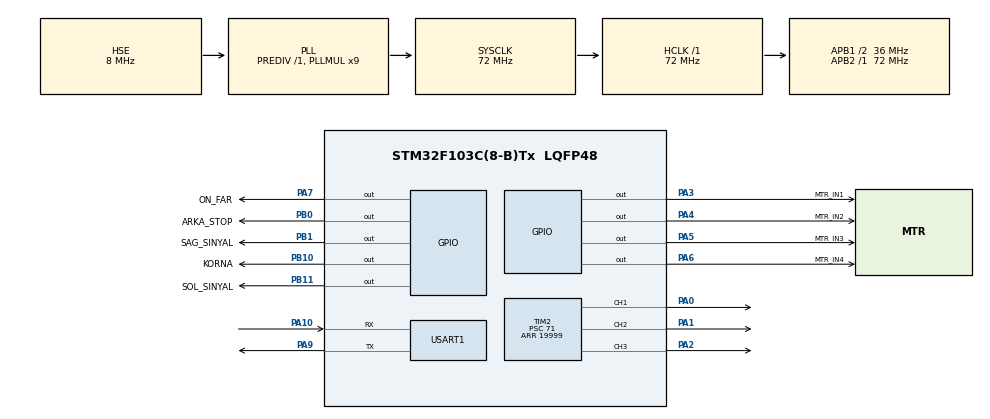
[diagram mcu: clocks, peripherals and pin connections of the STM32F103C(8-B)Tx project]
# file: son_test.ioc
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Mcu.Family=STM32F1
Mcu.Name=STM32F103C(8-B)Tx
Mcu.Package=LQFP48
NVIC.PriorityGroup=NVIC_PRIORITYGROUP_4
NVIC.TIM4_IRQn=true\:0\:0\:false\:false\:true\:true
NVIC.USART1_IRQn=true\:0\:0\:false\:false\:true\:true
PA0-WKUP.Signal=S_TIM2_CH1_ETR
PA1.Signal=S_TIM2_CH2
PA10.Mode=Asynchronous
PA10.Signal=USART1_RX
PA13.Mode=Serial_Wire
PA13.Signal=SYS_JTMS-SWDIO
PA14.Mode=Serial_Wire
PA14.Signal=SYS_JTCK-SWCLK
PA2.Signal=S_TIM2_CH3
PA3.GPIO_Label=MTR_IN1
PA3.Signal=GPIO_Output
PA4.GPIO_Label=MTR_IN2
PA4.Signal=GPIO_Output
PA5.GPIO_Label=MTR_IN3
PA5.Signal=GPIO_Output
PA6.GPIO_Label=MTR_IN4
PA6.Signal=GPIO_Output
PA7.GPIO_Label=ON_FAR
PA7.Signal=GPIO_Output
PA9.Mode=Asynchronous
PA9.Signal=USART1_TX
PB0.GPIO_Label=ARKA_STOP
PB0.Signal=GPIO_Output
PB1.GPIO_Label=SAG_SINYAL
PB1.Signal=GPIO_Output
PB10.GPIO_Label=KORNA
PB10.Signal=GPIO_Output
PB11.GPIO_Label=SOL_SINYAL
PB11.Signal=GPIO_Output
PD0-OSC_IN.Mode=HSE-External-Oscillator
PD0-OSC_IN.Signal=RCC_OSC_IN
PD1-OSC_OUT.Mode=HSE-External-Oscillator
PD1-OSC_OUT.Signal=RCC_OSC_OUT
ProjectManager.HeapSize=0x200
ProjectManager.StackSize=0x400
ProjectManager.TargetToolchain=MDK-ARM V5
RCC.AHBFreq_Value=72000000
RCC.APB1CLKDivider=RCC_HCLK_DIV2
RCC.APB1Freq_Value=36000000
RCC.APB1TimFreq_Value=72000000
RCC.APB2Freq_Value=72000000
RCC.APB2TimFreq_Value=72000000
RCC.HCLKFreq_Value=72000000
RCC.PLLMUL=RCC_PLL_MUL9
RCC.PLLSourceVirtual=RCC_PLLSOURCE_HSE
RCC.SYSCLKFreq_VALUE=72000000
RCC.SYSCLKSource=RCC_SYSCLKSOURCE_PLLCLK
RCC.USBFreq_Value=72000000
SH.S_TIM2_CH1_ETR.0=TIM2_CH1,PWM Generation1 CH1
SH.S_TIM2_CH2.0=TIM2_CH2,PWM Generation2 CH2
SH.S_TIM2_CH3.0=TIM2_CH3,PWM Generation3 CH3
TIM2.Channel-PWM\ Generation1\ CH1=TIM_CHANNEL_1
TIM2.Channel-PWM\ Generation2\ CH2=TIM_CHANNEL_2
TIM2.Channel-PWM\ Generation3\ CH3=TIM_CHANNEL_3
TIM2.OCMode_PWM-PWM\ Generation2\ CH2=TIM_OCMODE_PWM1
TIM2.OCMode_PWM-PWM\ Generation3\ CH3=TIM_OCMODE_PWM1
TIM2.Period=19999
TIM2.Prescaler=71
TIM4.Period=800
TIM4.Prescaler=35999
USART1.VirtualMode=VM_ASYNC
VP_TIM4_VS_ClockSourceINT.Mode=Internal
board=son_test

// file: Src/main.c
/**
  ******************************************************************************
  * File Name          : main.c
  * Description        : Main program body
  ******************************************************************************
  ** This notice applies to any and all portions of this file
  * that are not between comment pairs USER CODE BEGIN and
  * USER CODE END. Other portions of this file, whether
  * inserted by the user or by software development tools
  * are owned by their respective copyright owners.
  *
  * COPYRIGHT(c) 2017 STMicroelectronics
  *
  * Redistribution and use in source and binary forms, with or without modification,
  * are permitted provided that the following conditions are met:
  *   1. Redistributions of source code must retain the above copyright notice,
  *      this list of conditions and the following disclaimer.
  *   2. Redistributions in binary form must reproduce the above copyright notice,
  *      this list of conditions and the following disclaimer in the documentation
  *      and/or other materials provided with the distribution.
  *   3. Neither the name of STMicroelectronics nor the names of its contributors
  *      may be used to endorse or promote products derived from this software
  *      without specific prior written permission.
  *
  * THIS SOFTWARE IS PROVIDED BY THE COPYRIGHT HOLDERS AND CONTRIBUTORS "AS IS"
  * AND ANY EXPRESS OR IMPLIED WARRANTIES, INCLUDING, BUT NOT LIMITED TO, THE
  * IMPLIED WARRANTIES OF MERCHANTABILITY AND FITNESS FOR A PARTICULAR PURPOSE ARE
  * DISCLAIMED. IN NO EVENT SHALL THE COPYRIGHT HOLDER OR CONTRIBUTORS BE LIABLE
  * FOR ANY DIRECT, INDIRECT, INCIDENTAL, SPECIAL, EXEMPLARY, OR CONSEQUENTIAL
  * DAMAGES (INCLUDING, BUT NOT LIMITED TO, PROCUREMENT OF SUBSTITUTE GOODS OR
  * SERVICES; LOSS OF USE, DATA, OR PROFITS; OR BUSINESS INTERRUPTION) HOWEVER
  * CAUSED AND ON ANY THEORY OF LIABILITY, WHETHER IN CONTRACT, STRICT LIABILITY,
  * OR TORT (INCLUDING NEGLIGENCE OR OTHERWISE) ARISING IN ANY WAY OUT OF THE USE
  * OF THIS SOFTWARE, EVEN IF ADVISED OF THE POSSIBILITY OF SUCH DAMAGE.
  *
  ******************************************************************************
  */

#include "main.h"
#include "stm32f1xx_hal.h"

TIM_HandleTypeDef htim2;
TIM_HandleTypeDef htim4;

UART_HandleTypeDef huart1;

/* USER CODE BEGIN PV */
/* Private variables ---------------------------------------------------------*/
char* bufftr="mesaj bekliyor\r\n";																									// bufftr - HC05'E GONDERILECEK MESAJ
uint8_t buffrec[1];																																	// buffrec - HC05'DEN ALINACAK KARAKTER
int a=0;																																						// SINYALIZASYON KOSULU
int b=0;																																						// DORTLU KOSULU
int SOL_SERVO=1050;
int SAG_SERVO=1550;
int DIK_SERVO=1350;
/* USER CODE END PV */

void SystemClock_Config(void);
static void MX_GPIO_Init(void);
static void MX_USART1_UART_Init(void);
static void MX_TIM2_Init(void);
static void MX_TIM4_Init(void);
void HAL_TIM_MspPostInit(TIM_HandleTypeDef *htim);

/* USER CODE BEGIN PFP */
/* Private function prototypes -----------------------------------------------*/

/* USER CODE END PFP */

int main(void)
{

  /* MCU Configuration----------------------------------------------------------*/

  /* Reset of all peripherals, Initializes the Flash interface and the Systick. */
  HAL_Init();

  /* Configure the system clock */
  SystemClock_Config();

  /* Initialize all configured peripherals */
  MX_GPIO_Init();
  MX_USART1_UART_Init();
  MX_TIM2_Init();
  MX_TIM4_Init();

  /* USER CODE BEGIN 2 */
	__HAL_UART_ENABLE_IT(&huart1, UART_IT_TC);															 	  // VERI GONDERIMI AYARI
	__HAL_UART_ENABLE_IT(&huart1, UART_IT_RXNE); 																// CEVAP ALMA AYARI
	HAL_TIM_PWM_Start(&htim2,TIM_CHANNEL_1); 																		// SERVO PWM BASLAT
	HAL_TIM_PWM_Start(&htim2,TIM_CHANNEL_2);																		// TIMER2 KANAL 2 PWM BASLAT ( MOTOR HIZ_1 KONTROL )
 	HAL_TIM_PWM_Start(&htim2,TIM_CHANNEL_3);																		// TIMER2 KANAL 3 PWM BASLAT ( MOTOR HIZ_2 KONTROL )
	HAL_TIM_Base_Start_IT(&htim4); 																							// TIMER4 INTERNAL CLOCK BASLAT ( SINYALIZASYON SISTEMI )
	TIM2->CCR1=0; 																															// TIMER2 KANAL 1 = 0
	TIM2->CCR2=0;																															  // TIMER2 KANAL 2 = 0
	TIM2->CCR3=0;																																// TIMER2 KANAL 3 = 0
	HAL_Delay(100);

  /* USER CODE END 2 */

  /* Infinite loop */
  /* USER CODE BEGIN WHILE */
  while (1)
  {
		HAL_UART_Receive_IT(&huart1,buffrec,1);																											// USART ALICI KESMEYI BASLAT
		HAL_Delay(10);																																							// 10 ms  BEKLE ( CEVAP ALMA SURESI )
		if(buffrec[0] == 'F')																									  										// ILERI
		{
			TIM2->CCR1=DIK_SERVO; 																									 		  						// SERVO 90 DERECE AYARLA
			HAL_GPIO_WritePin(GPIOA,MTR_IN2_Pin|MTR_IN4_Pin,GPIO_PIN_RESET);			  									// MOTOR GERI DURDUR
			HAL_GPIO_WritePin(GPIOA,MTR_IN1_Pin|MTR_IN3_Pin,GPIO_PIN_SET);				  									// MOTOR ILERI BASLAT
			if(b==0){
				a=0;																																										// SINYALIZASYON KOSULUNU SIFIRLA
				HAL_GPIO_WritePin(GPIOB,SAG_SINYAL_Pin|SOL_SINYAL_Pin,GPIO_PIN_RESET);									// SINYALIZASYONU KAPAT
			}
		}
		else if(buffrec[0] == 'B') 																																	// GERI
		{
			TIM2->CCR1=DIK_SERVO; 																																		// SERVO 90 DERECE AYARLA
			HAL_GPIO_WritePin(GPIOA,MTR_IN1_Pin|MTR_IN3_Pin,GPIO_PIN_RESET);													// MOTOR ILERI DURDUR
			HAL_GPIO_WritePin(GPIOA,MTR_IN2_Pin|MTR_IN4_Pin,GPIO_PIN_SET);														// MOTOR GERI BASLAT
			if(b==0){
				a=0;																																										// SINYALIZASYON KOSULUNU SIFIRLA
				HAL_GPIO_WritePin(GPIOB,SAG_SINYAL_Pin|SOL_SINYAL_Pin,GPIO_PIN_RESET);									// SINYALIZASYONU KAPAT
			}
		}
		else if(buffrec[0] == 'R') 																																	// SAG
		{
			HAL_GPIO_WritePin(GPIOA,MTR_IN2_Pin|MTR_IN4_Pin,GPIO_PIN_RESET);													// MOTOR GERI DURDUR
			HAL_GPIO_WritePin(GPIOA,MTR_IN1_Pin|MTR_IN3_Pin,GPIO_PIN_RESET);													// MOTOR ILERI DURDUR
			TIM2->CCR1=SAG_SERVO;																																			// SERVO 45 DERECE AYARLA
			if(b==0){
			HAL_GPIO_WritePin(GPIOB,SOL_SINYAL_Pin,GPIO_PIN_RESET);																		// SINYALIZASYONU KAPAT
			a=1;																																											// SINYALIZASYON KOSULUNU ( SAG AYARLA)
			}
		}
		else if(buffrec[0] == 'L') 																																	// SOL
		{
			HAL_GPIO_WritePin(GPIOA,MTR_IN2_Pin|MTR_IN4_Pin,GPIO_PIN_RESET);													// MOTOR GERI DURDUR
			HAL_GPIO_WritePin(GPIOA,MTR_IN1_Pin|MTR_IN3_Pin,GPIO_PIN_RESET);													// MOTOR ILERI DURDUR
			TIM2->CCR1=SOL_SERVO;																																			// SERVO 135 DERECE AYARLA
			if(b==0){
			HAL_GPIO_WritePin(GPIOB,SAG_SINYAL_Pin,GPIO_PIN_RESET);																		// SINYALIZASYONU KAPAT
			a=2;																																											// SINYALIZASYON KOSULUNU ( SOL AYARLA)
			}
		}
		else if(buffrec[0] == 'I') 																																	// ILERI-SAG
		{
			HAL_GPIO_WritePin(GPIOA,MTR_IN2_Pin|MTR_IN4_Pin,GPIO_PIN_RESET);													// MOTOR GERI DURDUR
			HAL_GPIO_WritePin(GPIOA,MTR_IN1_Pin|MTR_IN3_Pin,GPIO_PIN_SET);														// MOTOR ILERI BASLAT
			TIM2->CCR1=SAG_SERVO;																																			// SERVO 45 DERECE AYARLA
			if(b==0){
			HAL_GPIO_WritePin(GPIOB,SOL_SINYAL_Pin,GPIO_PIN_RESET);																		// SINYALIZASYONU KAPAT
			a=1;																																											// SINYALIZASYON KOSULUNU ( SAG AYARLA)
			}
		}
		else if(buffrec[0] == 'G') 																																	// ILERI-SOL
		{
			HAL_GPIO_WritePin(GPIOA,MTR_IN2_Pin|MTR_IN4_Pin,GPIO_PIN_RESET);													// MOTOR GERI DURDUR
			HAL_GPIO_WritePin(GPIOA,MTR_IN1_Pin|MTR_IN3_Pin,GPIO_PIN_SET);														// MOTOR ILERI BASLAT
			TIM2->CCR1=SOL_SERVO;																																			// SERVO 135 DERECE AYARLA
			if(b==0){
			HAL_GPIO_WritePin(GPIOB,SAG_SINYAL_Pin,GPIO_PIN_RESET);																		// SINYALIZASYONU KAPAT
			a=2;																																											// SINYALIZASYON KOSULUNU ( SOL AYARLA)
			}
		}
		else if(buffrec[0] == 'J') 																																	// GERI-SAG
		{
			HAL_GPIO_WritePin(GPIOA,MTR_IN1_Pin|MTR_IN3_Pin,GPIO_PIN_RESET);													// MOTOR ILERI DURDUR
			HAL_GPIO_WritePin(GPIOA,MTR_IN2_Pin|MTR_IN4_Pin,GPIO_PIN_SET);														// MOTOR GERI BASLAT
			TIM2->CCR1=SAG_SERVO;																																			// SERVO 45 DERECE AYARLA
			if(b==0){
			HAL_GPIO_WritePin(GPIOB,SOL_SINYAL_Pin,GPIO_PIN_RESET);																		// SINYALIZASYONU KAPAT
			a=1;																																											// SINYALIZASYON KOSULUNU ( SAG AYARLA)
			}
		}
		else if(buffrec[0] == 'H') 																																	// GERI-SOL
		{
			HAL_GPIO_WritePin(GPIOA,MTR_IN1_Pin|MTR_IN3_Pin,GPIO_PIN_RESET);													// MOTOR ILERI DURDUR
			HAL_GPIO_WritePin(GPIOA,MTR_IN2_Pin|MTR_IN4_Pin,GPIO_PIN_SET);														// MOTOR GERI BASLAT
			TIM2->CCR1=SOL_SERVO;																																			// SERVO 135 DERECE AYARLA
			if(b==0){
			HAL_GPIO_WritePin(GPIOB,SAG_SINYAL_Pin,GPIO_PIN_RESET);																		// SINYALIZASYONU KAPAT
			a=2;																																											// SINYALIZASYON KOSULUNU ( SOL AYARLA)
			}
		}
		else if(buffrec[0] == 'X') 																																	// DORTLU YAK
		{
		a=3;																																												// SINYALIZASYON KOSULUNU ( DORTLU AYARLA)
		b=1;																																												// DORTLU KOSULU ACIK
		}
		else if(buffrec[0]=='x') 																																		// DORTLU SONDUR
		{
			HAL_GPIO_WritePin(GPIOB,SAG_SINYAL_Pin|SOL_SINYAL_Pin,GPIO_PIN_RESET);										// SINYALIZASYONU KAPAT
			a=0;																																											// SINYALIZASYON KOSULU KAPALI
			b=0;																																											// DORTLU KOSULU KAPALI
		}
		else if(buffrec[0]=='W')																																		// FAR YAK
		{
			HAL_GPIO_WritePin(GPIOA,ON_FAR_Pin,GPIO_PIN_SET);																					// GPIOA_07 PORTUNU KUR
		}
		else if(buffrec[0]=='w')																																		// FAR SONDUR
		{
			HAL_GPIO_WritePin(GPIOA,ON_FAR_Pin,GPIO_PIN_RESET);																				// GPIOA_07 PORTUNU RESETLE
		}
		else if(buffrec[0]=='V')																																		// KORNA ÇAL
		{
			HAL_GPIO_WritePin(GPIOB,KORNA_Pin,GPIO_PIN_SET);																					// GPIOB_10 PORTUNU KUR
		}
		else if(buffrec[0]=='v')																																		// KORNA SUS
		{
			HAL_GPIO_WritePin(GPIOB,KORNA_Pin,GPIO_PIN_RESET);																				// GPIOB_10 PORTUNU RESETLE
		}
		else if(buffrec[0]=='U')																																		// STOP YAK
		{
			HAL_GPIO_WritePin(GPIOB,ARKA_STOP_Pin,GPIO_PIN_SET);																			// GPIOB_00 PORTUNU KUR
		}
		else if(buffrec[0]=='u')																																		// STOP SONDUR
		{
			HAL_GPIO_WritePin(GPIOB,ARKA_STOP_Pin,GPIO_PIN_RESET);																		// GPIOB_00 PORTUNU RESETLE
		}
		else if(buffrec[0]=='S')																																		// DUR
		{
			HAL_GPIO_WritePin(GPIOA,MTR_IN1_Pin|MTR_IN2_Pin|MTR_IN3_Pin|MTR_IN4_Pin,GPIO_PIN_RESET);  // MOTOR ILERI-GERI DURDUR
			TIM2->CCR1=DIK_SERVO; 																																		// SERVO 90 DERECE AYARLA
			if(b==0){
				a=0;																																										// SINYALIZASYON KOSULUNU SIFIRLA
				HAL_GPIO_WritePin(GPIOB,SOL_SINYAL_Pin|SAG_SINYAL_Pin,GPIO_PIN_RESET);									// SINYALIZASYONU KAPAT
			}
		}
		else if(buffrec[0]=='0')																																		// HIZ %0
		{
			TIM2->CCR2=0;																																							// CH2 0 AYARLA			( YUZDE-SIFIR)
			TIM2->CCR3=0;																																							// CH3 0 AYARLA     ( YUZDE-SIFIR)
		}
		else if(buffrec[0]=='1')																																		// HIZ %10
		{
			TIM2->CCR2=1999;																																					// CH2 1999 AYARLA ( YUZDE-ON)
			TIM2->CCR3=1999;																																					// CH3 1999 AYARLA ( YUZDE-ON)
		}
		else if(buffrec[0]=='2')																																		// HIZ %20
		{
			TIM2->CCR2=3999;																																					// CH2 3999 AYARLA ( YUZDE-YIRMI)
			TIM2->CCR3=3999;																																					// CH3 3999 AYARLA ( YUZDE-YIRMI)
		}
		else if(buffrec[0]=='3')																																		// HIZ %30
		{
			TIM2->CCR2=5999;																																					// CH2 5999 AYARLA ( YUZDE-OTUZ)
			TIM2->CCR3=5999;																																					// CH3 5999 AYARLA ( YUZDE-OTUZ)
		}
		else if(buffrec[0]=='4')																																		// HIZ %40
		{
			TIM2->CCR2=7999;																																					// CH2 7999 AYARLA ( YUZDE-KIRK)
			TIM2->CCR3=7999;																																					// CH3 7999 AYARLA ( YUZDE-KIRK)
		}
		else if(buffrec[0]=='5')																																		// HIZ %50
		{
			TIM2->CCR2=9999;																																					// CH2 9999 AYARLA ( YUZDE-ELLI)
			TIM2->CCR3=9999;																																					// CH3 9999 AYARLA ( YUZDE-ELLI)
		}
		else if(buffrec[0]=='6')																																		// HIZ %60
		{
			TIM2->CCR2=11999;																																					// CH2 11999 AYARLA ( YUZDE-ALTMIS)
			TIM2->CCR3=11999;																																					// CH3 11999 AYARLA ( YUZDE-ALTMIS)
		}
		else if(buffrec[0]=='7')																																		// HIZ %70
		{
			TIM2->CCR2=13999;																																					// CH2 13999 AYARLA ( YUZDE-YETMIS)
			TIM2->CCR3=13999;																																					// CH3 13999 AYARLA ( YUZDE-YETMIS)
		}
		else if(buffrec[0]=='8')																																		// HIZ %80
		{
			TIM2->CCR2=15999;																																					// CH2 15999 AYARLA ( YUZDE-SEKSEN)
			TIM2->CCR3=15999;																																					// CH3 15999 AYARLA ( YUZDE-SEKSEN)
		}
		else if(buffrec[0]=='9')																																		// HIZ %90
		{
			TIM2->CCR2=17999;																																					// CH2 17999 AYARLA ( YUZDE-DOKSAN)
			TIM2->CCR3=17999;																																					// CH3 17999 AYARLA ( YUZDE-DOKSAN)
		}
		else if(buffrec[0]=='q')																																		// HIZ %100
		{
			TIM2->CCR2=19999;																																					// CH2 19999 AYARLA ( YUZDE-YUZ)
			TIM2->CCR3=19999;																																					// CH3 19999 AYARLA ( YUZDE-YUZ)

		}
		else{
			HAL_UART_Transmit_IT(&huart1, (uint8_t *)bufftr,18); 																			// VERI GONDERIMI
			HAL_Delay(1000);
		}
  /* USER CODE END WHILE */

	}
}

/** System Clock Configuration
*/
void SystemClock_Config(void)
{

  RCC_OscInitTypeDef RCC_OscInitStruct;
  RCC_ClkInitTypeDef RCC_ClkInitStruct;

    /**Initializes the CPU, AHB and APB busses clocks
    */
  RCC_OscInitStruct.OscillatorType = RCC_OSCILLATORTYPE_HSE;
  RCC_OscInitStruct.HSEState = RCC_HSE_ON;
  RCC_OscInitStruct.HSEPredivValue = RCC_HSE_PREDIV_DIV1;
  RCC_OscInitStruct.HSIState = RCC_HSI_ON;
  RCC_OscInitStruct.PLL.PLLState = RCC_PLL_ON;
  RCC_OscInitStruct.PLL.PLLSource = RCC_PLLSOURCE_HSE;
  RCC_OscInitStruct.PLL.PLLMUL = RCC_PLL_MUL9;
  if (HAL_RCC_OscConfig(&RCC_OscInitStruct) != HAL_OK)
  {
    _Error_Handler(__FILE__, __LINE__);
  }

    /**Initializes the CPU, AHB and APB busses clocks
    */
  RCC_ClkInitStruct.ClockType = RCC_CLOCKTYPE_HCLK|RCC_CLOCKTYPE_SYSCLK
                              |RCC_CLOCKTYPE_PCLK1|RCC_CLOCKTYPE_PCLK2;
  RCC_ClkInitStruct.SYSCLKSource = RCC_SYSCLKSOURCE_PLLCLK;
  RCC_ClkInitStruct.AHBCLKDivider = RCC_SYSCLK_DIV1;
  RCC_ClkInitStruct.APB1CLKDivider = RCC_HCLK_DIV2;
  RCC_ClkInitStruct.APB2CLKDivider = RCC_HCLK_DIV1;

  if (HAL_RCC_ClockConfig(&RCC_ClkInitStruct, FLASH_LATENCY_2) != HAL_OK)
  {
    _Error_Handler(__FILE__, __LINE__);
  }

    /**Configure the Systick interrupt time
    */
  HAL_SYSTICK_Config(HAL_RCC_GetHCLKFreq()/1000);

    /**Configure the Systick
    */
  HAL_SYSTICK_CLKSourceConfig(SYSTICK_CLKSOURCE_HCLK);

  /* SysTick_IRQn interrupt configuration */
  HAL_NVIC_SetPriority(SysTick_IRQn, 0, 0);
}

/* TIM2 init function */
static void MX_TIM2_Init(void)
{

  TIM_MasterConfigTypeDef sMasterConfig;
  TIM_OC_InitTypeDef sConfigOC;

  htim2.Instance = TIM2;
  htim2.Init.Prescaler = 71;
  htim2.Init.CounterMode = TIM_COUNTERMODE_UP;
  htim2.Init.Period = 19999;
  htim2.Init.ClockDivision = TIM_CLOCKDIVISION_DIV1;
  htim2.Init.AutoReloadPreload = TIM_AUTORELOAD_PRELOAD_DISABLE;
  if (HAL_TIM_PWM_Init(&htim2) != HAL_OK)
  {
    _Error_Handler(__FILE__, __LINE__);
  }

  sMasterConfig.MasterOutputTrigger = TIM_TRGO_RESET;
  sMasterConfig.MasterSlaveMode = TIM_MASTERSLAVEMODE_DISABLE;
  if (HAL_TIMEx_MasterConfigSynchronization(&htim2, &sMasterConfig) != HAL_OK)
  {
    _Error_Handler(__FILE__, __LINE__);
  }

  sConfigOC.OCMode = TIM_OCMODE_PWM1;
  sConfigOC.Pulse = 0;
  sConfigOC.OCPolarity = TIM_OCPOLARITY_HIGH;
  sConfigOC.OCFastMode = TIM_OCFAST_DISABLE;
  if (HAL_TIM_PWM_ConfigChannel(&htim2, &sConfigOC, TIM_CHANNEL_1) != HAL_OK)
  {
    _Error_Handler(__FILE__, __LINE__);
  }

  if (HAL_TIM_PWM_ConfigChannel(&htim2, &sConfigOC, TIM_CHANNEL_2) != HAL_OK)
  {
    _Error_Handler(__FILE__, __LINE__);
  }

  if (HAL_TIM_PWM_ConfigChannel(&htim2, &sConfigOC, TIM_CHANNEL_3) != HAL_OK)
  {
    _Error_Handler(__FILE__, __LINE__);
  }

  HAL_TIM_MspPostInit(&htim2);

}

/* TIM4 init function */
static void MX_TIM4_Init(void)
{

  TIM_ClockConfigTypeDef sClockSourceConfig;
  TIM_MasterConfigTypeDef sMasterConfig;

  htim4.Instance = TIM4;
  htim4.Init.Prescaler = 35999;
  htim4.Init.CounterMode = TIM_COUNTERMODE_UP;
  htim4.Init.Period = 800;
  htim4.Init.ClockDivision = TIM_CLOCKDIVISION_DIV1;
  htim4.Init.AutoReloadPreload = TIM_AUTORELOAD_PRELOAD_DISABLE;
  if (HAL_TIM_Base_Init(&htim4) != HAL_OK)
  {
    _Error_Handler(__FILE__, __LINE__);
  }

  sClockSourceConfig.ClockSource = TIM_CLOCKSOURCE_INTERNAL;
  if (HAL_TIM_ConfigClockSource(&htim4, &sClockSourceConfig) != HAL_OK)
  {
    _Error_Handler(__FILE__, __LINE__);
  }

  sMasterConfig.MasterOutputTrigger = TIM_TRGO_RESET;
  sMasterConfig.MasterSlaveMode = TIM_MASTERSLAVEMODE_DISABLE;
  if (HAL_TIMEx_MasterConfigSynchronization(&htim4, &sMasterConfig) != HAL_OK)
  {
    _Error_Handler(__FILE__, __LINE__);
  }

}

/* USART1 init function */
static void MX_USART1_UART_Init(void)
{

  huart1.Instance = USART1;
  huart1.Init.BaudRate = 115200;
  huart1.Init.WordLength = UART_WORDLENGTH_8B;
  huart1.Init.StopBits = UART_STOPBITS_1;
  huart1.Init.Parity = UART_PARITY_NONE;
  huart1.Init.Mode = UART_MODE_TX_RX;
  huart1.Init.HwFlowCtl = UART_HWCONTROL_NONE;
  huart1.Init.OverSampling = UART_OVERSAMPLING_16;
  if (HAL_UART_Init(&huart1) != HAL_OK)
  {
    _Error_Handler(__FILE__, __LINE__);
  }

}

/** Configure pins as
        * Analog
        * Input
        * Output
        * EVENT_OUT
        * EXTI
*/
static void MX_GPIO_Init(void)
{

  GPIO_InitTypeDef GPIO_InitStruct;

  /* GPIO Ports Clock Enable */
  __HAL_RCC_GPIOD_CLK_ENABLE();
  __HAL_RCC_GPIOA_CLK_ENABLE();
  __HAL_RCC_GPIOB_CLK_ENABLE();

  /*Configure GPIO pin Output Level */
  HAL_GPIO_WritePin(GPIOA, MTR_IN1_Pin|MTR_IN2_Pin|MTR_IN3_Pin|MTR_IN4_Pin
                          |ON_FAR_Pin, GPIO_PIN_RESET);

  /*Configure GPIO pin Output Level */
  HAL_GPIO_WritePin(GPIOB, ARKA_STOP_Pin|SAG_SINYAL_Pin|KORNA_Pin|SOL_SINYAL_Pin, GPIO_PIN_RESET);

  /*Configure GPIO pins : MTR_IN1_Pin MTR_IN2_Pin MTR_IN3_Pin MTR_IN4_Pin
                           ON_FAR_Pin */
  GPIO_InitStruct.Pin = MTR_IN1_Pin|MTR_IN2_Pin|MTR_IN3_Pin|MTR_IN4_Pin
                          |ON_FAR_Pin;
  GPIO_InitStruct.Mode = GPIO_MODE_OUTPUT_PP;
  GPIO_InitStruct.Speed = GPIO_SPEED_FREQ_LOW;
  HAL_GPIO_Init(GPIOA, &GPIO_InitStruct);

  /*Configure GPIO pins : ARKA_STOP_Pin SAG_SINYAL_Pin KORNA_Pin SOL_SINYAL_Pin */
  GPIO_InitStruct.Pin = ARKA_STOP_Pin|SAG_SINYAL_Pin|KORNA_Pin|SOL_SINYAL_Pin;
  GPIO_InitStruct.Mode = GPIO_MODE_OUTPUT_PP;
  GPIO_InitStruct.Speed = GPIO_SPEED_FREQ_LOW;
  HAL_GPIO_Init(GPIOB, &GPIO_InitStruct);

}

/* USER CODE BEGIN 4 */
void HAL_TIM_PeriodElapsedCallback(TIM_HandleTypeDef *htim)
{
	if(htim->Instance == TIM4)
	{
		if(a==1){
			HAL_GPIO_TogglePin(GPIOB,GPIO_PIN_1);
		}
		else if(a==2){
			HAL_GPIO_TogglePin(GPIOB,GPIO_PIN_11);
		}
		else if(a==3){
			HAL_GPIO_TogglePin(GPIOB,GPIO_PIN_1|GPIO_PIN_11);
		}
	}
}
/* USER CODE END 4 */

void _Error_Handler(char * file, int line)
{
  while(1)
  {
  }
}

/************************ (C) COPYRIGHT STMicroelectronics *****END OF FILE****/
